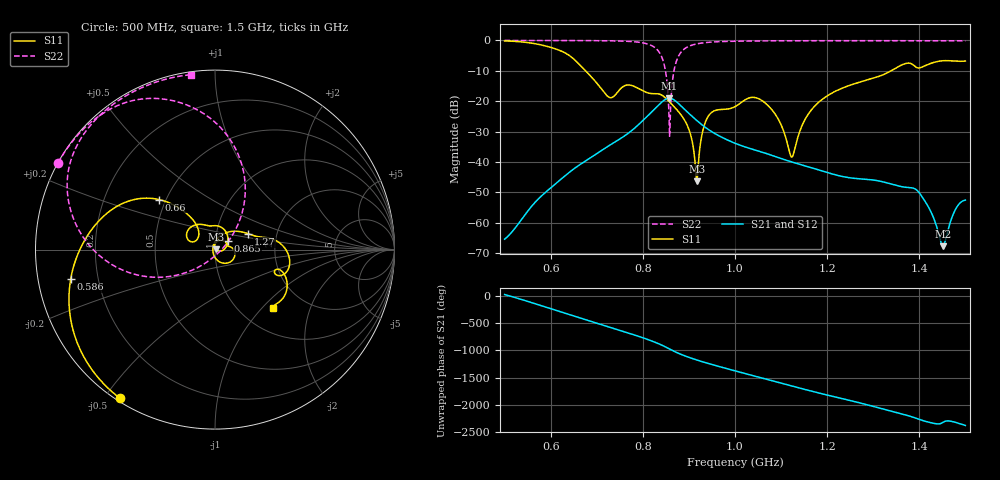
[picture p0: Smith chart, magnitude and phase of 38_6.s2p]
! TOUCHSTONE file generated by CST MICROWAVE STUDIO
! Date and time: Fri Oct  2 19:02:16 2020
! Project name: Scenario_1_Free_Space_out_of_line.cst
! Parameters = {Lambda=346.42; Step_1=17.321; dy1=-293.977; dx1=1039; L_HA=400; MT=2.54; Rad_Dielectric=30; Rad_Lower=7.3; Rad_Upper=30; a_HA=580; a_WG=246; b_HA=500; b_WG=121; c_HA=0; c_WG=187; d_feed=85; h_feed=15; h_lower=18; h_upper=40}
! Header version: 2018
! Port assignment regex: !\s*Touchstone port\s*([0-9]+)\s*=\s*(CST MWS port|CST DS port)\s*([0-9]+|Zmin|Zmax)\s*\(\"(.*)\"\)(\s*mode\s*([0-9]+))?.*
! Touchstone port assignment:
! Touchstone port 1 = CST MWS port 1 ("")
! Touchstone port 2 = CST MWS port 2 ("")
# GHz S DB R 50
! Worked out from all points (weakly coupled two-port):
!   1003 points, 500 MHz to 1.5 GHz, reference 50 ohm
!   highest |S21| = -18.99 dB at 857 MHz (marker M1); lowest = -67.7 dB at 1.451 GHz (marker M2)
!   lowest |S11| = -46.3 dB at 917 MHz (marker M3), VSWR 1.01, Z = 50.4 + j0.271 ohm
!   |S11| at or under -10 dB: 675.8 MHz to 1.338 GHz (662.7 MHz wide, 65.8 % of centre)
!   |S22| runs from -31.5 to 0.0 dB; largest |S21 - S12| = 3.5e-06
!   S11 on the Smith chart (normalised r, x): 500 MHz: 0.01, -0.55; 586 MHz: 0.10, -0.10; 660 MHz: 0.46, +0.31; 865 MHz: 1.15, +0.11; 1.27 GHz: 1.43, +0.26; 1.5 GHz: 1.40, -1.15
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0.5  -0.15 -122.5  -65.37 34.6  -65.37 34.6  -0.01 151.2
0.586  -1.71 -168.4  -50.33 170.9  -50.33 170.9  -0.02 145.2
0.66  -7.55 138.3  -41.20 -28.0  -41.20 -28.0  -0.04 139.0
0.667  -8.63 134.8  -40.49 -47.1  -40.49 -47.1  -0.04 138.3
0.728  -18.78 144.6  -34.47 149.7  -34.47 149.7  -0.12 131.1
0.834  -17.59 81.2  -21.30 -154.3  -21.30 -154.3  -3.54 86.1
0.847  -18.63 59.5  -19.56 155.1  -19.56 155.1  -8.41 63.6
0.857  -20.06 44.1  -18.99 111.7  -18.99 111.7  -26.03 15.4
0.865  -21.33 33.1  -19.31 76.7  -19.31 76.7  -12.49 -144.6
0.876  -23.19 18.6  -20.57 32.7  -20.57 32.7  -5.60 -167.3
0.899  -28.87 -11.8  -23.88 -44.0  -23.88 -44.0  -1.98 168.9
0.917  -46.35 34.0  -26.32 -95.8  -26.32 -95.8  -1.13 159.3
0.942  -24.93 64.6  -29.28 -160.2  -29.28 -160.2  -0.62 151.0
1  -21.78 12.2  -33.82 63.2  -33.82 63.2  -0.26 140.2
1.067  -20.76 -56.1  -37.15 -90.2  -37.15 -90.2  -0.15 132.7
1.123  -38.39 179.9  -39.97 142.9  -39.96 142.9  -0.11 127.7
1.167  -22.62 72.7  -41.90 45.6  -41.90 45.6  -0.10 124.2
1.27  -13.74 25.4  -45.51 -167.4  -45.52 -167.3  -0.08 116.3
1.334  -10.37 12.5  -47.03 47.7  -47.03 47.7  -0.09 111.5
1.398  -9.05 -20.0  -49.76 -110.0  -49.76 -110.0  -0.10 106.5
1.451  -6.68 -32.0  -67.68 -171.6  -67.68 -171.6  -0.12 102.1
1.5  -6.78 -45.2  -52.52 133.2  -52.52 133.2  -0.14 97.9
